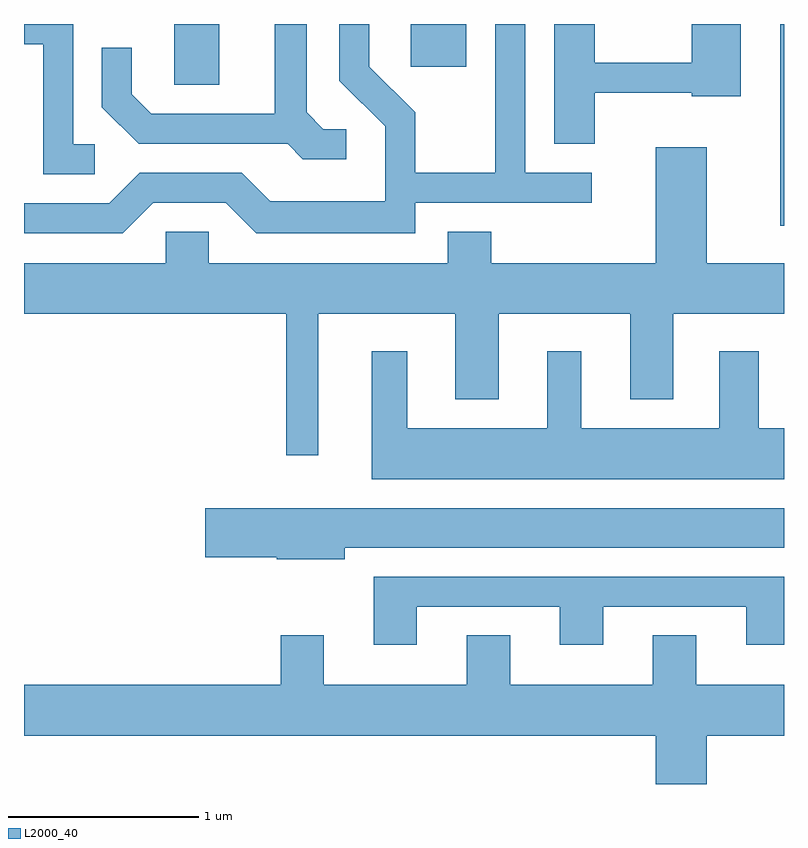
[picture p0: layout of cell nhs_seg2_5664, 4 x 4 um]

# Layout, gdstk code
import gdstk
lib = gdstk.Library(unit=1e-6, precision=1e-09)
def R(c, l, rs):  # rectangles x0, y0, x1, y1
    for r in rs: c.add(gdstk.rectangle(r[:2], r[2:], *l))
def P(c, l, *ps):  # polygons
    for p in ps: c.add(gdstk.Polygon(p, *l))
L2000_40 = (2000, 40)

nhs_seg2_5664 = lib.new_cell('nhs_seg2_5664')
R(nhs_seg2_5664, L2000_40, [(355.591,1088.741,355.611,1089.802), (352.401,1089.481,352.639,1089.802), (353.646,1089.576,353.939,1089.802)])
P(nhs_seg2_5664, L2000_40, [(354.614,1089.441),(355.126,1089.441),(355.126,1089.421),(355.384,1089.421),(355.384,1089.802),(355.126,1089.802),(355.126,1089.599),(354.614,1089.599),(354.614,1089.802),(354.401,1089.802),(354.401,1089.171),(354.614,1089.171)],
  [(351.983,1089.169),(351.869,1089.169),(351.869,1089.802),(351.611,1089.802),(351.611,1089.696),(351.711,1089.696),(351.711,1089.011),(351.983,1089.011)],
  [(353.308,1089.249),(353.187,1089.249),(353.099,1089.337),(353.099,1089.802),(352.931,1089.802),(352.931,1089.329),(352.282,1089.329),(352.179,1089.432),(352.179,1089.678),(352.021,1089.678),(352.021,1089.364),(352.214,1089.171),(352.999,1089.171),(353.079,1089.091),(353.308,1089.091)],
  [(352.292,1088.861),(352.674,1088.861),(352.834,1088.701),(353.669,1088.701),(353.669,1088.861),(354.598,1088.861),(354.598,1089.019),(354.249,1089.019),(354.249,1089.802),(354.091,1089.802),(354.091,1089.019),(353.669,1089.019),(353.669,1089.337),(353.429,1089.577),(353.429,1089.802),(353.271,1089.802),(353.271,1089.504),(353.511,1089.264),(353.511,1088.869),(352.907,1088.869),(352.757,1089.019),(352.219,1089.019),(352.059,1088.859),(351.611,1088.859),(351.611,1088.701),(352.132,1088.701)],
  [(353.159,1088.276),(353.881,1088.276),(353.881,1087.826),(354.109,1087.826),(354.109,1088.276),(354.801,1088.276),(354.801,1087.826),(355.029,1087.826),(355.029,1088.276),(355.611,1088.276),(355.611,1088.544),(355.204,1088.544),(355.204,1089.154),(354.936,1089.154),(354.936,1088.544),(354.069,1088.544),(354.069,1088.709),(353.841,1088.709),(353.841,1088.544),(352.584,1088.544),(352.584,1088.709),(352.356,1088.709),(352.356,1088.544),(351.611,1088.544),(351.611,1088.276),(352.991,1088.276),(352.991,1087.533),(353.159,1087.533)],
  [(355.611,1087.674),(355.479,1087.674),(355.479,1088.079),(355.271,1088.079),(355.271,1087.674),(354.544,1087.674),(354.544,1088.079),(354.366,1088.079),(354.366,1087.674),(353.629,1087.674),(353.629,1088.079),(353.441,1088.079),(353.441,1087.406),(355.611,1087.406)],
  [(353.299,1087.046),(355.611,1087.046),(355.611,1087.254),(352.566,1087.254),(352.566,1086.996),(352.94,1086.996),(352.94,1086.986),(353.299,1086.986)],
  [(353.679,1086.736),(354.431,1086.736),(354.431,1086.536),(354.659,1086.536),(354.659,1086.736),(355.411,1086.736),(355.411,1086.536),(355.611,1086.536),(355.611,1086.894),(353.451,1086.894),(353.451,1086.536),(353.679,1086.536)],
  [(355.204,1086.056),(355.611,1086.056),(355.611,1086.324),(355.149,1086.324),(355.149,1086.584),(354.921,1086.584),(354.921,1086.324),(354.169,1086.324),(354.169,1086.584),(353.941,1086.584),(353.941,1086.324),(353.189,1086.324),(353.189,1086.584),(352.961,1086.584),(352.961,1086.324),(351.611,1086.324),(351.611,1086.056),(354.936,1086.056),(354.936,1085.802),(355.204,1085.802)])

lib.write_gds('nhs_seg2_5664.gds')
